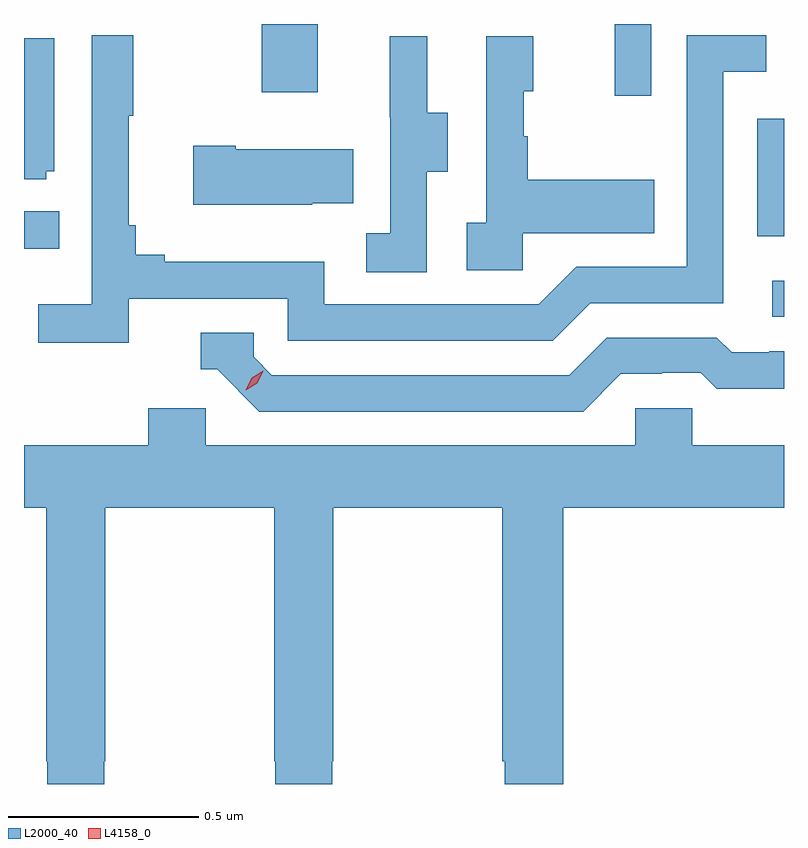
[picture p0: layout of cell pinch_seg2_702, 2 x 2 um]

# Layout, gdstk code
import gdstk
lib = gdstk.Library(unit=1e-6, precision=1e-09)
def R(c, l, rs):  # rectangles x0, y0, x1, y1
    for r in rs: c.add(gdstk.rectangle(r[:2], r[2:], *l))
def P(c, l, *ps):  # polygons
    for p in ps: c.add(gdstk.Polygon(p, *l))
L2000_40 = (2000, 40)
L4158_0 = (4158, 0)

pinch_seg2_702 = lib.new_cell('pinch_seg2_702')
R(pinch_seg2_702, L2000_40, [(1085.805,592.194,1085.836,592.29), (1083.836,592.373,1083.929,592.472), (1085.766,592.407,1085.836,592.716), (1085.39,592.776,1085.487,592.965), (1084.462,592.785,1084.609,592.965)])
P(pinch_seg2_702, L2000_40, [(1084.112,592.242),(1084.53,592.242),(1084.53,592.131),(1085.227,592.131),(1085.326,592.23),(1085.676,592.23),(1085.676,592.839),(1085.789,592.839),(1085.789,592.935),(1085.58,592.935),(1085.58,592.326),(1085.289,592.326),(1085.19,592.227),(1084.626,592.227),(1084.626,592.339),(1084.207,592.339),(1084.207,592.358),(1084.13,592.358),(1084.13,592.435),(1084.111,592.435),(1084.111,592.723),(1084.123,592.723),(1084.123,592.936),(1084.014,592.936),(1084.014,592.228),(1083.873,592.228),(1083.873,592.126),(1084.112,592.126)],
  [(1085.148,592.415),(1085.495,592.415),(1085.495,592.555),(1085.161,592.555),(1085.161,592.67),(1085.151,592.67),(1085.151,592.788),(1085.176,592.788),(1085.176,592.933),(1085.052,592.933),(1085.052,592.442),(1085.001,592.442),(1085.001,592.317),(1085.148,592.317)],
  [(1084.896,592.576),(1084.951,592.576),(1084.951,592.731),(1084.897,592.731),(1084.897,592.933),(1084.799,592.933),(1084.799,592.719),(1084.8,592.719),(1084.8,592.415),(1084.737,592.415),(1084.737,592.312),(1084.896,592.312)],
  [(1083.894,592.578),(1083.916,592.578),(1083.916,592.927),(1083.836,592.927),(1083.836,592.557),(1083.894,592.557)],
  [(1084.595,592.493),(1084.703,592.493),(1084.703,592.636),(1084.393,592.636),(1084.393,592.644),(1084.281,592.644),(1084.281,592.49),(1084.595,592.49)],
  [(1085.407,592.044),(1085.514,592.044),(1085.514,592.047),(1085.617,592.047),(1085.659,592.005),(1085.836,592.005),(1085.836,592.104),(1085.797,592.104),(1085.797,592.101),(1085.698,592.101),(1085.659,592.14),(1085.37,592.14),(1085.271,592.041),(1084.488,592.041),(1084.44,592.089),(1084.44,592.152),(1084.301,592.152),(1084.301,592.056),(1084.344,592.056),(1084.455,591.945),(1085.308,591.945)],
  [(1084.047,591.025),(1084.05,591.025),(1084.05,591.692),(1084.495,591.692),(1084.495,591.025),(1084.497,591.025),(1084.497,590.965),(1084.647,590.965),(1084.647,591.025),(1084.65,591.025),(1084.65,591.692),(1085.095,591.692),(1085.095,591.025),(1085.101,591.025),(1085.101,590.965),(1085.255,590.965),(1085.255,591.692),(1085.836,591.692),(1085.836,591.856),(1085.595,591.856),(1085.595,591.954),(1085.445,591.954),(1085.445,591.856),(1084.314,591.856),(1084.314,591.954),(1084.163,591.954),(1084.163,591.856),(1083.836,591.856),(1083.836,591.692),(1083.895,591.692),(1083.895,591.025),(1083.897,591.025),(1083.897,590.965),(1084.047,590.965)])
P(pinch_seg2_702, L4158_0, [(1084.419,592.001),(1084.419,592.001),(1084.435,592.034),(1084.466,592.053),(1084.466,592.053),(1084.466,592.053),(1084.45,592.02),(1084.419,592.001)])

lib.write_gds('pinch_seg2_702.gds')
